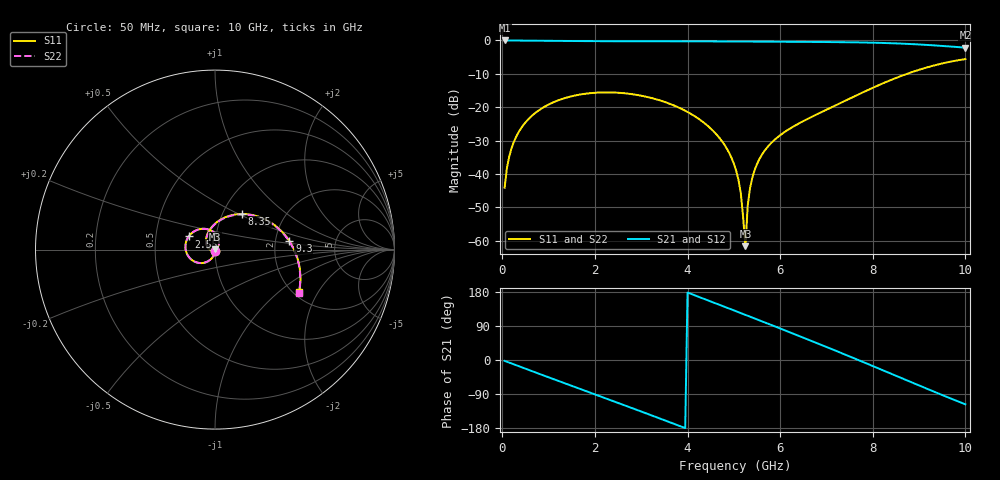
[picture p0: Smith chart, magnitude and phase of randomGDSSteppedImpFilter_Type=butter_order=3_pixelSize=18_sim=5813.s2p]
! freq	dB(S11)	phase(S11)	dB(S12)	phase(S12)
!  dB(S21)	phase(S21)	dB(S22)	phase(S22)
!S-par simulation data
#  GHz  S  DB  R 50
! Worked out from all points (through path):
!   200 points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, 50 MHz to 10 GHz, reference 50 ohm
!   highest |S21| = 0.00 dB at 50 MHz (marker M1); lowest = -2.2 dB at 10 GHz (marker M2)
!   group delay of S21, straight-line fit = 132 ps
!   lowest |S11| = -61.7 dB at 5.25 GHz (marker M3), VSWR 1.00, Z = 49.9 + j0.0569 ohm
!   |S11| at or under -10 dB: start of sweep to 8.742 GHz
!   |S22| runs from -61.6 to -5.6 dB; largest |S21 - S12| = 0
!   S11 on the Smith chart (normalised r, x): 50 MHz: 1.00, -0.01; 2.55 GHz: 0.74, +0.11; 8.35 GHz: 1.23, +0.52; 9.3 GHz: 2.40, +0.27; 10 GHz: 2.14, -1.40
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0.05  -44.15 -91.1  -0.00 -2.3  -0.00 -2.3  -44.15 -91.1
0.1  -38.23 -94.0  -0.01 -4.6  -0.01 -4.6  -38.23 -94.0
0.2  -32.30 -99.3  -0.02 -9.2  -0.02 -9.2  -32.30 -99.3
0.5  -24.58 -113.6  -0.04 -22.9  -0.04 -22.9  -24.58 -113.6
1  -19.21 -136.6  -0.10 -45.7  -0.10 -45.7  -19.21 -136.7
1.75  -16.06 -170.6  -0.19 -79.5  -0.19 -79.5  -16.06 -170.7
2.55  -15.72 153.3  -0.25 -115.5  -0.25 -115.5  -15.72 153.1
3.4  -17.95 114.5  -0.26 -154.2  -0.26 -154.2  -17.95 114.1
4.5  -26.39 62.7  -0.28 154.6  -0.28 154.6  -26.39 61.8
4.85  -32.47 45.9  -0.30 138.1  -0.30 138.1  -32.45 44.6
5.05  -39.05 36.3  -0.31 128.6  -0.31 128.6  -39.01 34.4
5.15  -45.73 31.7  -0.32 123.9  -0.32 123.9  -45.63 28.6
5.25  -61.67 136.4  -0.33 119.1  -0.33 119.1  -61.61 -87.3
5.3  -49.42 -157.0  -0.33 116.7  -0.33 116.7  -49.56 -154.4
5.35  -44.26 -159.1  -0.33 114.4  -0.33 114.4  -44.34 -158.2
5.55  -35.61 -168.7  -0.35 104.8  -0.35 104.8  -35.64 -169.1
5.95  -28.95 171.5  -0.38 85.6  -0.38 85.6  -28.95 170.5
6.7  -22.78 133.9  -0.44 49.2  -0.44 49.2  -22.77 132.6
7.55  -17.11 92.2  -0.56 6.9  -0.56 6.9  -17.10 91.0
8.35  -12.09 53.1  -0.81 -33.8  -0.81 -33.8  -12.09 52.2
9.3  -7.59 6.5  -1.46 -82.5  -1.46 -82.5  -7.58 5.9
10  -5.59 -26.8  -2.16 -116.9  -2.16 -116.9  -5.59 -27.2
